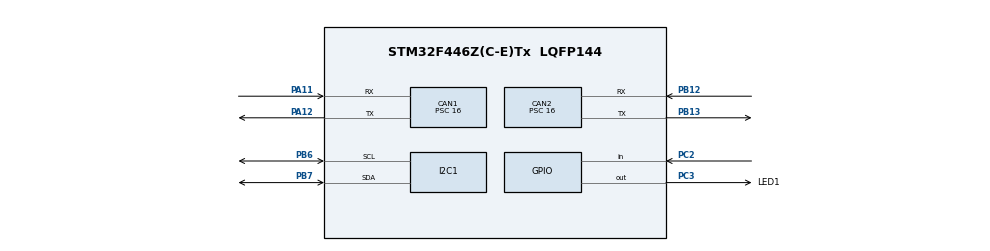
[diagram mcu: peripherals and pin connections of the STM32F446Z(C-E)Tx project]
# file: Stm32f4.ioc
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CAN1.BS2=CAN_BS2_2TQ
CAN1.CalculateBaudRate=250000
CAN1.CalculateTimeBit=4000
CAN1.CalculateTimeQuantum=1000.0
CAN1.Prescaler=16
CAN2.BS2=CAN_BS2_2TQ
CAN2.CalculateBaudRate=250000
CAN2.CalculateTimeBit=4000
CAN2.CalculateTimeQuantum=1000.0
CAN2.Prescaler=16
Mcu.Family=STM32F4
Mcu.Name=STM32F446Z(C-E)Tx
Mcu.Package=LQFP144
NVIC.CAN1_RX0_IRQn=true\:0\:0\:false\:false\:true\:true\:true\:true
NVIC.PriorityGroup=NVIC_PRIORITYGROUP_4
PA11.Mode=CAN_Activate
PA11.Signal=CAN1_RX
PA12.Mode=CAN_Activate
PA12.Signal=CAN1_TX
PB12.Mode=CAN_Activate
PB12.Signal=CAN2_RX
PB13.Mode=CAN_Activate
PB13.Signal=CAN2_TX
PB6.Mode=I2C
PB6.Signal=I2C1_SCL
PB7.Mode=I2C
PB7.Signal=I2C1_SDA
PC2.Signal=GPIO_Input
PC3.GPIO_Label=LED1
PC3.GPIO_Speed=GPIO_SPEED_FREQ_VERY_HIGH
PC3.Signal=GPIO_Output
ProjectManager.HeapSize=0x200
ProjectManager.StackSize=0x400
ProjectManager.TargetToolchain=STM32CubeIDE
RCC.CortexFreq_Value=16000000
RCC.USBFreq_Value=96000000
RCC.VCOOutputFreq_Value=192000000
board=custom

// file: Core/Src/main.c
/* USER CODE BEGIN Header */
/**
  ******************************************************************************
  * @file           : main.c
  * @brief          : Main program body
  ******************************************************************************
  * @attention
  *
  * Copyright (c) 2024 STMicroelectronics.
  * All rights reserved.
  *
  * This software is licensed under terms that can be found in the LICENSE file
  * in the root directory of this software component.
  * If no LICENSE file comes with this software, it is provided AS-IS.
  *
  ******************************************************************************
  */
/* USER CODE END Header */
#include "main.h"

CAN_HandleTypeDef hcan1;
CAN_HandleTypeDef hcan2;

I2C_HandleTypeDef hi2c1;

void SystemClock_Config(void);
static void MX_GPIO_Init(void);
static void MX_I2C1_Init(void);
static void MX_CAN1_Init(void);
static void MX_CAN2_Init(void);

/* USER CODE BEGIN 0 */
CAN_RxHeaderTypeDef rxHeader; //CAN Bus Transmit Header
CAN_TxHeaderTypeDef txHeader; //CAN Bus Receive Header

uint8_t canRX[8] = {0,0,0,0,0,0,0,0};  //CAN Bus Receive Buffer
CAN_FilterTypeDef canfil; //CAN Bus Filter
uint32_t canMailbox; //CAN Bus Mail box variable

/* USER CODE END 0 */

int main(void)
{

  /* MCU Configuration--------------------------------------------------------*/

  /* Reset of all peripherals, Initializes the Flash interface and the Systick. */
  HAL_Init();

  /* Configure the system clock */
  SystemClock_Config();

  /* Initialize all configured peripherals */
  MX_GPIO_Init();
  MX_I2C1_Init();
  MX_CAN1_Init();
  MX_CAN2_Init();
  /* USER CODE BEGIN 2 */

  canfil.FilterBank = 0;
  canfil.FilterMode = CAN_FILTERMODE_IDMASK;
  canfil.FilterFIFOAssignment = CAN_RX_FIFO0;
  canfil.FilterIdHigh = 0;
  canfil.FilterIdLow = 0;
  canfil.FilterMaskIdHigh = 0;
  canfil.FilterMaskIdLow = 0;
  canfil.FilterScale = CAN_FILTERSCALE_32BIT;
  canfil.FilterActivation = ENABLE;
  canfil.SlaveStartFilterBank = 14;

  txHeader.DLC = 8; // Number of bites to be transmitted max- 8
  txHeader.IDE = CAN_ID_STD;
  txHeader.RTR = CAN_RTR_DATA;
  txHeader.StdId = 0x030;
  txHeader.ExtId = 0x02;
  txHeader.TransmitGlobalTime = DISABLE;

  HAL_CAN_ConfigFilter(&hcan,&canfil); //Initialize CAN Filter
  HAL_CAN_Start(&hcan); //Initialize CAN Bus
  HAL_CAN_ActivateNotification(&hcan,CAN_IT_RX_FIFO0_MSG_PENDING);// Initialize CAN Bus Rx Interrupt

  /* USER CODE END 2 */

  /* Infinite loop */
  while (1)
  {

  }
}

void SystemClock_Config(void)
{
  RCC_OscInitTypeDef RCC_OscInitStruct = {0};
  RCC_ClkInitTypeDef RCC_ClkInitStruct = {0};

  /** Configure the main internal regulator output voltage
  */
  __HAL_RCC_PWR_CLK_ENABLE();
  __HAL_PWR_VOLTAGESCALING_CONFIG(PWR_REGULATOR_VOLTAGE_SCALE3);

  /** Initializes the RCC Oscillators according to the specified parameters
  * in the RCC_OscInitTypeDef structure.
  */
  RCC_OscInitStruct.OscillatorType = RCC_OSCILLATORTYPE_HSI;
  RCC_OscInitStruct.HSIState = RCC_HSI_ON;
  RCC_OscInitStruct.HSICalibrationValue = RCC_HSICALIBRATION_DEFAULT;
  RCC_OscInitStruct.PLL.PLLState = RCC_PLL_NONE;
  if (HAL_RCC_OscConfig(&RCC_OscInitStruct) != HAL_OK)
  {
    Error_Handler();
  }

  /** Initializes the CPU, AHB and APB buses clocks
  */
  RCC_ClkInitStruct.ClockType = RCC_CLOCKTYPE_HCLK|RCC_CLOCKTYPE_SYSCLK
                              |RCC_CLOCKTYPE_PCLK1|RCC_CLOCKTYPE_PCLK2;
  RCC_ClkInitStruct.SYSCLKSource = RCC_SYSCLKSOURCE_HSI;
  RCC_ClkInitStruct.AHBCLKDivider = RCC_SYSCLK_DIV1;
  RCC_ClkInitStruct.APB1CLKDivider = RCC_HCLK_DIV1;
  RCC_ClkInitStruct.APB2CLKDivider = RCC_HCLK_DIV1;

  if (HAL_RCC_ClockConfig(&RCC_ClkInitStruct, FLASH_LATENCY_0) != HAL_OK)
  {
    Error_Handler();
  }
}

static void MX_CAN1_Init(void)
{

  hcan1.Instance = CAN1;
  hcan1.Init.Prescaler = 16;
  hcan1.Init.Mode = CAN_MODE_NORMAL;
  hcan1.Init.SyncJumpWidth = CAN_SJW_1TQ;
  hcan1.Init.TimeSeg1 = CAN_BS1_1TQ;
  hcan1.Init.TimeSeg2 = CAN_BS2_2TQ;
  hcan1.Init.TimeTriggeredMode = DISABLE;
  hcan1.Init.AutoBusOff = DISABLE;
  hcan1.Init.AutoWakeUp = DISABLE;
  hcan1.Init.AutoRetransmission = DISABLE;
  hcan1.Init.ReceiveFifoLocked = DISABLE;
  hcan1.Init.TransmitFifoPriority = DISABLE;
  if (HAL_CAN_Init(&hcan1) != HAL_OK)
  {
    Error_Handler();
  }

}

static void MX_CAN2_Init(void)
{

  hcan2.Instance = CAN2;
  hcan2.Init.Prescaler = 16;
  hcan2.Init.Mode = CAN_MODE_NORMAL;
  hcan2.Init.SyncJumpWidth = CAN_SJW_1TQ;
  hcan2.Init.TimeSeg1 = CAN_BS1_1TQ;
  hcan2.Init.TimeSeg2 = CAN_BS2_2TQ;
  hcan2.Init.TimeTriggeredMode = DISABLE;
  hcan2.Init.AutoBusOff = DISABLE;
  hcan2.Init.AutoWakeUp = DISABLE;
  hcan2.Init.AutoRetransmission = DISABLE;
  hcan2.Init.ReceiveFifoLocked = DISABLE;
  hcan2.Init.TransmitFifoPriority = DISABLE;
  if (HAL_CAN_Init(&hcan2) != HAL_OK)
  {
    Error_Handler();
  }

}

static void MX_I2C1_Init(void)
{

  hi2c1.Instance = I2C1;
  hi2c1.Init.ClockSpeed = 100000;
  hi2c1.Init.DutyCycle = I2C_DUTYCYCLE_2;
  hi2c1.Init.OwnAddress1 = 0;
  hi2c1.Init.AddressingMode = I2C_ADDRESSINGMODE_7BIT;
  hi2c1.Init.DualAddressMode = I2C_DUALADDRESS_DISABLE;
  hi2c1.Init.OwnAddress2 = 0;
  hi2c1.Init.GeneralCallMode = I2C_GENERALCALL_DISABLE;
  hi2c1.Init.NoStretchMode = I2C_NOSTRETCH_DISABLE;
  if (HAL_I2C_Init(&hi2c1) != HAL_OK)
  {
    Error_Handler();
  }

}

static void MX_GPIO_Init(void)
{
  GPIO_InitTypeDef GPIO_InitStruct = {0};

  /* GPIO Ports Clock Enable */
  __HAL_RCC_GPIOC_CLK_ENABLE();
  __HAL_RCC_GPIOB_CLK_ENABLE();
  __HAL_RCC_GPIOA_CLK_ENABLE();

  /*Configure GPIO pin Output Level */
  HAL_GPIO_WritePin(LED1_GPIO_Port, LED1_Pin, GPIO_PIN_RESET);

  /*Configure GPIO pin : PC2 */
  GPIO_InitStruct.Pin = GPIO_PIN_2;
  GPIO_InitStruct.Mode = GPIO_MODE_INPUT;
  GPIO_InitStruct.Pull = GPIO_NOPULL;
  HAL_GPIO_Init(GPIOC, &GPIO_InitStruct);

  /*Configure GPIO pin : LED1_Pin */
  GPIO_InitStruct.Pin = LED1_Pin;
  GPIO_InitStruct.Mode = GPIO_MODE_OUTPUT_PP;
  GPIO_InitStruct.Pull = GPIO_NOPULL;
  GPIO_InitStruct.Speed = GPIO_SPEED_FREQ_VERY_HIGH;
  HAL_GPIO_Init(LED1_GPIO_Port, &GPIO_InitStruct);

}

/* USER CODE BEGIN 4 */
void HAL_CAN_RxFifo0MsgPendingCallback(CAN_HandleTypeDef *hcan1)
{
	HAL_CAN_GetRxMessage(hcan1, CAN_RX_FIFO0, &rxHeader, canRX); //Receive CAN bus message to canRX buffer
	HAL_GPIO_TogglePin(GPIOC, GPIO_PIN_3);// toggle PC3 LED

}
/* USER CODE END 4 */

void Error_Handler(void)
{
  __disable_irq();
  while (1)
  {
  }
}
